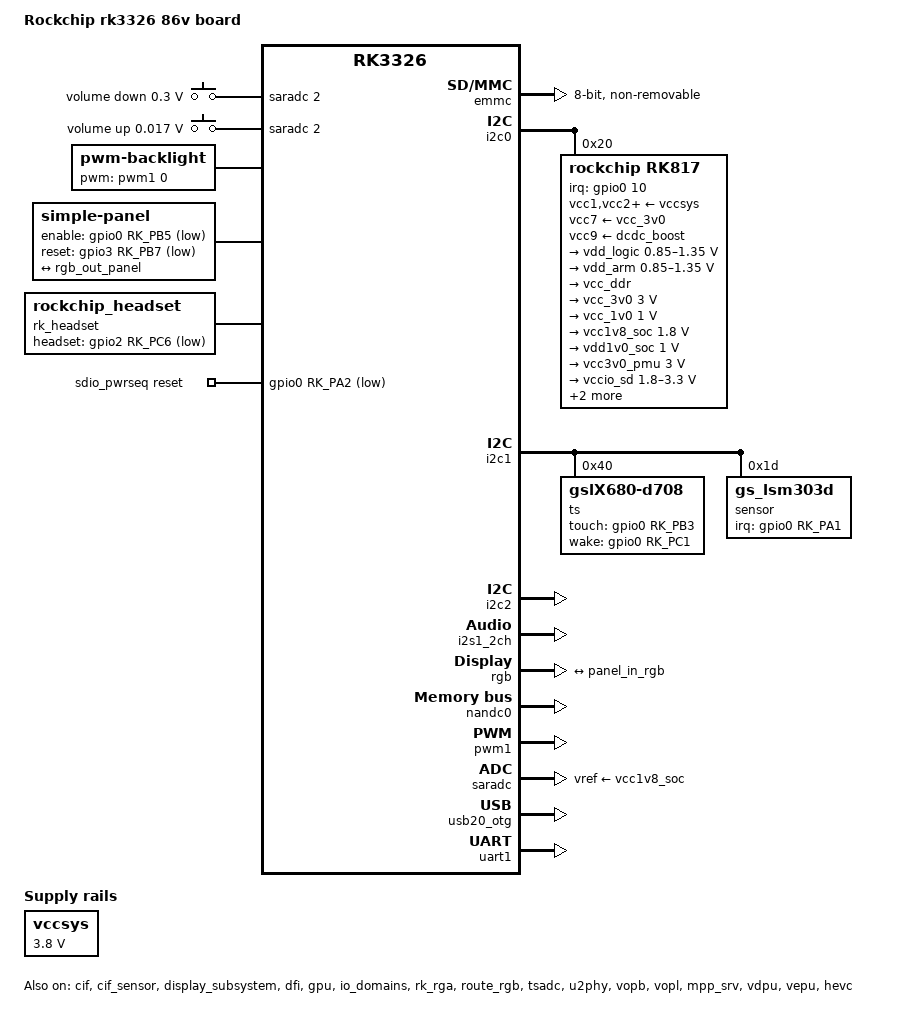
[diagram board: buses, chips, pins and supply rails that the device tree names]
// SPDX-License-Identifier: (GPL-2.0+ OR MIT)
/*
 * Copyright (c) 2018 Fuzhou Rockchip Electronics Co., Ltd
 */

/dts-v1/;
#include <dt-bindings/display/drm_mipi_dsi.h>
#include <dt-bindings/gpio/gpio.h>
#include <dt-bindings/input/input.h>
#include <dt-bindings/pinctrl/rockchip.h>
#include <dt-bindings/sensor-dev.h>
#include "rk3326.dtsi"
#include "rk3326-863-cif-sensor.dtsi"
#include "px30-android.dtsi"

/ {
	model = "Rockchip rk3326 86v board";
	compatible = "rockchip,rk3326-86v-v10", "rockchip,rk3326";

	adc-keys {
		compatible = "adc-keys";
		io-channels = <&saradc 2>;
		io-channel-names = "buttons";
		poll-interval = <100>;
		keyup-threshold-microvolt = <617000>;

		vol-down-key {
			linux,code = <KEY_VOLUMEDOWN>;
			label = "volume down";
			press-threshold-microvolt = <300000>;
		};

		vol-up-key {
			linux,code = <KEY_VOLUMEUP>;
			label = "volume up";
			press-threshold-microvolt = <17000>;
		};
	};

	backlight: backlight {
		compatible = "pwm-backlight";
		pwms = <&pwm1 0 25000 0>;
		brightness-levels = <
			 0   10  10  11  11  12  12  13
			 13  14  14  15  15  16  16  17
			 17  18  18  19  20  21  22  23
			 24  25  26  27  28  29  30  31
			 32  33  34  35  36  37  38  39
			 40  41  42  43  44  45  46  47
			 48  49  50  51  52  53  54  55
			 56  57  58  59  60  61  62  63
			 64  65  66  67  68  69  70  71
			 72  73  74  75  76  77  78  79
			 80  81  82  83  84  85  86  87
			 88  89  90  91  92  93  94  95
			 96  97  98  99 100 101 102 103
			104 105 106 107 108 109 110 111
			112 113 114 115 116 117 118 119
			120 121 122 123 124 125 126 127
			128 129 130 131 132 133 134 135
			136 137 138 139 140 141 142 143
			144 145 146 147 148 149 150 151
			152 153 154 155 156 157 158 159
			160 161 162 163 164 165 166 167
			168 169 170 171 172 173 174 175
			176 177 178 179 180 181 182 183
			184 185 186 187 188 189 190 191
			192 193 194 195 196 197 198 199
			200 201 202 203 204 205 206 207
			208 209 210 211 212 213 214 215
			216 217 218 219 220 221 222 223
			224 225 226 227 228 229 230 231
			232 233 234 235 236 237 238 239
			240 241 242 243 244 245 246 247
			248 249 250 251 252 253 254 255>;
		default-brightness-level = <200>;
	};

	charge-animation {
		compatible = "rockchip,uboot-charge";
		rockchip,uboot-charge-on = <0>;
		rockchip,android-charge-on = <0>;
		rockchip,uboot-low-power-voltage = <3500>;
		rockchip,screen-on-voltage = <3600>;
		status = "okay";
	};

	panel {
		compatible ="simple-panel";
		enable-gpios = <&gpio0 RK_PB5 GPIO_ACTIVE_LOW>;
		reset-gpios = <&gpio3 RK_PB7 GPIO_ACTIVE_LOW>;
		bus-format = <MEDIA_BUS_FMT_RGB666_1X18>;

		display-timings {
			native-mode = <&timing0>;

			timing0: timing0 {
				clock-frequency = <51200000>;
				hactive = <1024>;
				vactive = <600>;
				hback-porch = <100>;
				hfront-porch = <120>;
				vback-porch = <10>;
				vfront-porch = <15>;
				hsync-len = <100>;
				vsync-len = <10>;
				hsync-active = <0>;
				vsync-active = <0>;
				de-active = <0>;
				pixelclk-active = <0>;
			};
		};

		port {
			panel_in_rgb: endpoint {
				remote-endpoint = <&rgb_out_panel>;
			};
		};
	};

	rk817-sound {
		compatible = "simple-audio-card";
		simple-audio-card,format = "i2s";
		simple-audio-card,name = "rockchip,rk817-codec";
		simple-audio-card,mclk-fs = <256>;
		simple-audio-card,widgets =
			"Microphone", "Mic Jack",
			"Headphone", "Headphone Jack";
		simple-audio-card,routing =
			"Mic Jack", "MICBIAS1",
			"IN1P", "Mic Jack",
			"Headphone Jack", "HPOL",
			"Headphone Jack", "HPOR";
		simple-audio-card,cpu {
			sound-dai = <&i2s1_2ch>;
		};
		simple-audio-card,codec {
			sound-dai = <&rk817_codec>;
		};
	};

	rk_headset: rk-headset {
		compatible = "rockchip_headset";
		headset_gpio = <&gpio2 RK_PC6 GPIO_ACTIVE_LOW>;
		pinctrl-names = "default";
		pinctrl-0 = <&hp_det>;
	};

	sdio_pwrseq: sdio-pwrseq {
		compatible = "mmc-pwrseq-simple";
		clocks = <&cru SCLK_WIFI_PMU>;
		clock-names = "clk_wifi_pmu";
		pinctrl-names = "default";
		pinctrl-0 = <&wifi_enable_h>;

		/*
		 * On the module itself this is one of these (depending
		 * on the actual card populated):
		 * - SDIO_RESET_L_WL_REG_ON
		 * - PDN (power down when low)
		 */
		reset-gpios = <&gpio0 RK_PA2 GPIO_ACTIVE_LOW>; /* GPIO3_A4 */
	};

	vccsys: vccsys {
		compatible = "regulator-fixed";
		regulator-name = "vcc3v8_sys";
		regulator-always-on;
		regulator-boot-on;
		regulator-min-microvolt = <3800000>;
		regulator-max-microvolt = <3800000>;
	};
};

&cif {
	status = "okay";
};

&cif_sensor {
	status = "okay";
};

&display_subsystem {
	status = "okay";
};

&bus_apll {
	bus-supply = <&vdd_logic>;
	status = "okay";
};

&cpu0 {
	cpu-supply = <&vdd_arm>;
};

&cpu0_opp_table {
	/*
	 * max IR-drop values on different freq condition for this board!
	 */
	rockchip,board-irdrop = <
		/*MHz	MHz	uV */
		0	815	75000
		816	1119	75000
		1200	1512	75000
	>;
};

&dmc_opp_table {
	/*
	 * max IR-drop values on different freq condition for this board!
	 */
	rockchip,board-irdrop = <
		/*MHz	MHz	uV */
		451	800	75000
	>;
};

&dfi {
	status = "okay";
};

&dmc {
	center-supply = <&vdd_logic>;
	status = "disabled";
};

&emmc {
	bus-width = <8>;
	cap-mmc-highspeed;
	/*mmc-hs200-1_8v;*/
	no-sdio;
	no-sd;
	disable-wp;
	non-removable;
	num-slots = <1>;
	status = "okay";
};

&gpu {
	mali-supply = <&vdd_logic>;
	status = "okay";
};

&i2c0 {
	status = "okay";

	rk817: pmic@20 {
		compatible = "rockchip,rk817";
		reg = <0x20>;
		interrupt-parent = <&gpio0>;
		interrupts = <10 IRQ_TYPE_LEVEL_LOW>;
		pinctrl-names = "default", "pmic-sleep",
				"pmic-power-off", "pmic-reset";
		pinctrl-0 = <&pmic_int>;
		pinctrl-1 = <&soc_slppin_slp>, <&rk817_slppin_slp>;
		pinctrl-2 = <&soc_slppin_gpio>, <&rk817_slppin_pwrdn>;
		pinctrl-3 = <&soc_slppin_rst>, <&rk817_slppin_rst>;
		rockchip,system-power-controller;
		wakeup-source;
		#clock-cells = <1>;
		clock-output-names = "rk808-clkout1", "rk808-clkout2";
		//fb-inner-reg-idxs = <2>;
		/* 1: rst regs (default in codes), 0: rst the pmic */
		pmic-reset-func = <1>;

		vcc1-supply = <&vccsys>;
		vcc2-supply = <&vccsys>;
		vcc3-supply = <&vccsys>;
		vcc4-supply = <&vccsys>;
		vcc5-supply = <&vccsys>;
		vcc6-supply = <&vccsys>;
		vcc7-supply = <&vcc_3v0>;
		vcc8-supply = <&vccsys>;
		vcc9-supply = <&dcdc_boost>;

		pwrkey {
			status = "okay";
		};

		pinctrl_rk8xx: pinctrl_rk8xx {
			gpio-controller;
			#gpio-cells = <2>;

			rk817_ts_gpio1: rk817_ts_gpio1 {
				pins = "gpio_ts";
				function = "pin_fun1";
				/* output-low; */
				/* input-enable; */
			};

			rk817_gt_gpio2: rk817_gt_gpio2 {
				pins = "gpio_gt";
				function = "pin_fun1";
			};

			rk817_pin_ts: rk817_pin_ts {
				pins = "gpio_ts";
				function = "pin_fun0";
			};

			rk817_pin_gt: rk817_pin_gt {
				pins = "gpio_gt";
				function = "pin_fun0";
			};

			rk817_slppin_null: rk817_slppin_null {
				pins = "gpio_slp";
				function = "pin_fun0";
			};

			rk817_slppin_slp: rk817_slppin_slp {
				pins = "gpio_slp";
				function = "pin_fun1";
			};

			rk817_slppin_pwrdn: rk817_slppin_pwrdn {
				pins = "gpio_slp";
				function = "pin_fun2";
			};

			rk817_slppin_rst: rk817_slppin_rst {
				pins = "gpio_slp";
				function = "pin_fun3";
			};
		};

		regulators {
			vdd_logic: DCDC_REG1 {
				regulator-always-on;
				regulator-boot-on;
				regulator-min-microvolt = <850000>;
				regulator-max-microvolt = <1350000>;
				regulator-ramp-delay = <6001>;
				regulator-initial-mode = <0x2>;
				regulator-name = "vdd_logic";
				regulator-state-mem {
					regulator-on-in-suspend;
					regulator-suspend-microvolt = <950000>;
				};
			};

			vdd_arm: DCDC_REG2 {
				regulator-always-on;
				regulator-boot-on;
				regulator-min-microvolt = <850000>;
				regulator-max-microvolt = <1350000>;
				regulator-ramp-delay = <6001>;
				regulator-initial-mode = <0x2>;
				regulator-name = "vdd_arm";
				regulator-state-mem {
					regulator-off-in-suspend;
					regulator-suspend-microvolt = <950000>;
				};
			};

			vcc_ddr: DCDC_REG3 {
				regulator-always-on;
				regulator-boot-on;
				regulator-initial-mode = <0x2>;
				regulator-name = "vcc_ddr";
				regulator-state-mem {
					regulator-on-in-suspend;
				};
			};

			vcc_3v0: DCDC_REG4 {
				regulator-always-on;
				regulator-boot-on;
				regulator-min-microvolt = <3000000>;
				regulator-max-microvolt = <3000000>;
				regulator-initial-mode = <0x2>;
				regulator-name = "vcc_3v0";
				regulator-state-mem {
					regulator-on-in-suspend;
					regulator-suspend-microvolt = <3000000>;
				};
			};

			vcc_1v0: LDO_REG1 {
				regulator-always-on;
				regulator-boot-on;
				regulator-min-microvolt = <1000000>;
				regulator-max-microvolt = <1000000>;
				regulator-name = "vcc_1v0";
				regulator-state-mem {
					regulator-on-in-suspend;
					regulator-suspend-microvolt = <1000000>;
				};
			};

			vcc1v8_soc: LDO_REG2 {
				regulator-always-on;
				regulator-boot-on;
				regulator-min-microvolt = <1800000>;
				regulator-max-microvolt = <1800000>;

				regulator-name = "vcc1v8_soc";
				regulator-state-mem {
					regulator-on-in-suspend;
					regulator-suspend-microvolt = <1800000>;
				};
			};

			vdd1v0_soc: LDO_REG3 {
				regulator-always-on;
				regulator-boot-on;
				regulator-min-microvolt = <1000000>;
				regulator-max-microvolt = <1000000>;

				regulator-name = "vcc1v0_soc";
				regulator-state-mem {
					regulator-on-in-suspend;
					regulator-suspend-microvolt = <1000000>;
				};
			};

			vcc3v0_pmu: LDO_REG4 {
				regulator-always-on;
				regulator-boot-on;
				regulator-min-microvolt = <3000000>;
				regulator-max-microvolt = <3000000>;

				regulator-name = "vcc3v0_pmu";
				regulator-state-mem {
					regulator-on-in-suspend;
					regulator-suspend-microvolt = <3000000>;

				};
			};

			vccio_sd: LDO_REG5 {
				regulator-always-on;
				regulator-boot-on;
				regulator-min-microvolt = <1800000>;
				regulator-max-microvolt = <3300000>;

				regulator-name = "vccio_sd";
				regulator-state-mem {
					regulator-on-in-suspend;
					regulator-suspend-microvolt = <3300000>;
				};
			};

			vcc_sd: LDO_REG6 {
				regulator-min-microvolt = <3300000>;
				regulator-max-microvolt = <3300000>;

				regulator-name = "vcc_sd";
				regulator-state-mem {
					regulator-on-in-suspend;
					regulator-suspend-microvolt = <3300000>;

				};
			};

			vcc2v8_dvp: LDO_REG7 {
				regulator-boot-on;
				regulator-min-microvolt = <2800000>;
				regulator-max-microvolt = <2800000>;

				regulator-name = "vcc2v8_dvp";
				regulator-state-mem {
					regulator-off-in-suspend;
					regulator-suspend-microvolt = <2800000>;
				};
			};

			vcc1v8_dvp: LDO_REG8 {
				regulator-boot-on;
				regulator-min-microvolt = <1800000>;
				regulator-max-microvolt = <1800000>;

				regulator-name = "vcc1v8_dvp";
				regulator-state-mem {
					regulator-off-in-suspend;
					regulator-suspend-microvolt = <1800000>;
				};
			};

			vdd1v5_dvp: LDO_REG9 {
				regulator-boot-on;
				regulator-min-microvolt = <1500000>;
				regulator-max-microvolt = <1500000>;

				regulator-name = "vdd1v5_dvp";
				regulator-state-mem {
					regulator-off-in-suspend;
					regulator-suspend-microvolt = <1500000>;
				};
			};

			dcdc_boost: BOOST {
				regulator-always-on;
				regulator-boot-on;
				regulator-min-microvolt = <4700000>;
				regulator-max-microvolt = <5400000>;
				regulator-name = "boost";
			};

			otg_switch: OTG_SWITCH {
				regulator-name = "otg_switch";
			};
		};

		battery {
			compatible = "rk817,battery";
			ocv_table = <3500 3548 3592 3636 3687 3740 3780
				3806 3827 3846 3864 3889 3929 3964
				3993 4015 4030 4041 4056 4076 4148>;
			design_capacity = <4000>;
			design_qmax = <4200>;
			bat_res = <100>;
			sleep_enter_current = <150>;
			sleep_exit_current = <180>;
			sleep_filter_current = <100>;
			power_off_thresd = <3500>;
			zero_algorithm_vol = <3850>;
			max_soc_offset = <60>;
			monitor_sec = <5>;
			sample_res = <10>;
			virtual_power = <0>;
		};

		charger {
			compatible = "rk817,charger";
			min_input_voltage = <4500>;
			max_input_current = <1500>;
			max_chrg_current = <2000>;
			max_chrg_voltage = <4200>;
			chrg_term_mode = <0>;
			chrg_finish_cur = <300>;
			virtual_power = <0>;
			dc_det_adc = <0>;
			extcon = <&u2phy>;
		};

		rk817_codec: codec {
			#sound-dai-cells = <0>;
			compatible = "rockchip,rk817-codec";
			clocks = <&cru SCLK_I2S1_OUT>;
			clock-names = "mclk";
			pinctrl-names = "default";
			pinctrl-0 = <&i2s1_2ch_mclk>;
			hp-volume = <20>;
			spk-volume = <3>;
			mic-in-differential;
			status = "okay";
		};
	};
};

&i2c1 {
	status = "okay";

	ts@40 {
		compatible = "gslX680-d708";
		reg = <0x40>;
		touch-gpio = <&gpio0 RK_PB3 IRQ_TYPE_LEVEL_LOW>;
		wake-gpio = <&gpio0 RK_PC1 IRQ_TYPE_LEVEL_LOW>;
		screen_max_x = <1024>;
		screen_max_y = <600>;
		revert_x = <1>;
		status = "okay";
	};

	sensor@1d {
		status = "okay";
		compatible = "gs_lsm303d";
		reg = <0x1d>;
		type = <SENSOR_TYPE_ACCEL>;
		irq-gpio = <&gpio0 RK_PA1 IRQ_TYPE_LEVEL_LOW>;
		irq_enable = <0>;
		poll_delay_ms = <30>;
		layout = <5>;
		reprobe_en = <1>;
	};
};

&i2c2 {
	status = "okay";
};

&i2s1_2ch {
	status = "okay";
	#sound-dai-cells = <0>;
};

&io_domains {
	status = "okay";

	vccio1-supply = <&vcc_3v0>;
	vccio2-supply = <&vccio_sd>;
	vccio3-supply = <&vcc2v8_dvp>;
	vccio4-supply = <&vcc_3v0>;
	vccio5-supply = <&vcc_3v0>;
};

&rgb {
	status = "okay";

	ports {
		port@1 {
			reg = <1>;

			rgb_out_panel: endpoint {
				remote-endpoint = <&panel_in_rgb>;
			};
		};
	};
};

&nandc0 {
	status = "okay";
};

&pinctrl {
	headphone {
		hp_det: hp-det {
			rockchip,pins = <2 RK_PC6 RK_FUNC_GPIO &pcfg_pull_up>;
		};
	};

	lcdc {
		lcdc_m1_rgb_pins: lcdc-m1-rgb-pins {
			rockchip,pins =
				<3 RK_PA0 1 &pcfg_pull_none>,		/* LCDC_DCLK */
				<3 RK_PA4 1 &pcfg_pull_none_8ma>,	/* LCDC_D0 */
				<3 RK_PA6 1 &pcfg_pull_none_8ma>,	/* LCDC_D2 */
				<3 RK_PB2 1 &pcfg_pull_none_8ma>,	/* LCDC_D6 */
				<3 RK_PB3 1 &pcfg_pull_none_8ma>,	/* LCDC_D7 */
				<3 RK_PB5 1 &pcfg_pull_none_8ma>,	/* LCDC_D9 */
				<3 RK_PC0 1 &pcfg_pull_none_8ma>,	/* LCDC_D12 */
				<3 RK_PC1 1 &pcfg_pull_none_8ma>,	/* LCDC_D13 */
				<3 RK_PC2 1 &pcfg_pull_none_8ma>,	/* LCDC_D14 */
				<3 RK_PC3 1 &pcfg_pull_none_8ma>,	/* LCDC_D15 */
				<3 RK_PC4 1 &pcfg_pull_none_8ma>,	/* LCDC_D16 */
				<3 RK_PC5 1 &pcfg_pull_none_8ma>;	/* LCDC_D17 */
		};

		lcdc_m1_sleep_pins: lcdc-m1-sleep-pins {
			rockchip,pins =
				<3 RK_PA0 RK_FUNC_GPIO &pcfg_pull_none>,	/* LCDC_DCLK */
				<3 RK_PA4 RK_FUNC_GPIO &pcfg_pull_none>,	/* LCDC_D0 */
				<3 RK_PA6 RK_FUNC_GPIO &pcfg_pull_none>,	/* LCDC_D2 */
				<3 RK_PB2 RK_FUNC_GPIO &pcfg_pull_none>,	/* LCDC_D6 */
				<3 RK_PB3 RK_FUNC_GPIO &pcfg_pull_none>,	/* LCDC_D7 */
				<3 RK_PB5 RK_FUNC_GPIO &pcfg_pull_none>,	/* LCDC_D9 */
				<3 RK_PC0 RK_FUNC_GPIO &pcfg_pull_none>,	/* LCDC_D12 */
				<3 RK_PC1 RK_FUNC_GPIO &pcfg_pull_none>,	/* LCDC_D13 */
				<3 RK_PC2 RK_FUNC_GPIO &pcfg_pull_none>,	/* LCDC_D14 */
				<3 RK_PC3 RK_FUNC_GPIO &pcfg_pull_none>,	/* LCDC_D15 */
				<3 RK_PC4 RK_FUNC_GPIO &pcfg_pull_none>,	/* LCDC_D16 */
				<3 RK_PC5 RK_FUNC_GPIO &pcfg_pull_none>;	/* LCDC_D17 */
		};
	};

	pmic {
		pmic_int: pmic_int {
			rockchip,pins =
				<0 RK_PB2 RK_FUNC_GPIO &pcfg_pull_up>;
		};

		soc_slppin_gpio: soc_slppin_gpio {
			rockchip,pins =
				<0 RK_PA4 RK_FUNC_GPIO &pcfg_output_low>;
		};

		soc_slppin_slp: soc_slppin_slp {
			rockchip,pins =
				<0 RK_PA4 1 &pcfg_pull_none>;
		};

		soc_slppin_rst: soc_slppin_rst {
			rockchip,pins =
				<0 RK_PA4 2 &pcfg_pull_none>;
		};
	};

	sdio-pwrseq {
		wifi_enable_h: wifi-enable-h {
			rockchip,pins = <0 RK_PA2 RK_FUNC_GPIO &pcfg_pull_none>;
		};
	};
};

&pmu_io_domains {
	status = "okay";

	pmuio1-supply = <&vcc3v0_pmu>;
	pmuio2-supply = <&vcc3v0_pmu>;
};

&pwm1 {
	status = "okay";
};

&rk_rga {
	status = "okay";
};

&rockchip_suspend {
	status = "okay";
	rockchip,sleep-debug-en = <1>;
};

&route_rgb {
	connect = <&vopb_out_rgb>;
	status = "okay";
};

&saradc {
	status = "okay";
	vref-supply = <&vcc1v8_soc>;
};

&sdmmc {
	bus-width = <4>;
	cap-mmc-highspeed;
	cap-sd-highspeed;
	no-sdio;
	no-mmc;
	card-detect-delay = <800>;
	ignore-pm-notify;
	sd-uhs-sdr12;
	sd-uhs-sdr25;
	sd-uhs-sdr50;
	sd-uhs-sdr104;
	vqmmc-supply = <&vccio_sd>;
	vmmc-supply = <&vcc_sd>;
	status = "disabled";
};

&sdio {
	bus-width = <4>;
	cap-sd-highspeed;
	no-sd;
	no-mmc;
	ignore-pm-notify;
	keep-power-in-suspend;
	non-removable;
	mmc-pwrseq = <&sdio_pwrseq>;
	sd-uhs-sdr104;
	status = "disabled";
};

&tsadc {
	pinctrl-names = "gpio", "otpout";
	pinctrl-0 = <&tsadc_otp_gpio>;
	pinctrl-1 = <&tsadc_otp_out>;
	status = "okay";
};

&u2phy {
	status = "okay";

	u2phy_host: host-port {
		rockchip,low-power-mode;
		status = "okay";
	};

	u2phy_otg: otg-port {
		rockchip,low-power-mode;
		status = "okay";
	};
};

&usb20_otg {
	status = "okay";
};

&uart1 {
	pinctrl-names = "default";
	pinctrl-0 = <&uart1_xfer &uart1_cts>;
	status = "okay";
};

&vip_mmu {
	status = "okay";
};

&vopb {
	status = "okay";
};

&vopb_mmu {
	status = "okay";
};

&vopl {
	status = "okay";
};

&vopl_mmu {
	status = "okay";
};

&mpp_srv {
	status = "okay";
};

&vdpu {
	status = "okay";
};

&vepu {
	status = "okay";
};

&vpu_mmu {
	status = "okay";
};

&hevc {
	status = "okay";
};

&hevc_mmu {
	status = "okay";
};

&firmware_android {
	compatible = "android,firmware";
	fstab {
		compatible = "android,fstab";
		system {
			compatible = "android,system";
			dev = "/dev/block/by-name/system";
			type = "ext4";
			mnt_flags = "ro,barrier=1,inode_readahead_blks=8";
			fsmgr_flags = "wait";
		};
		vendor {
			compatible = "android,vendor";
			dev = "/dev/block/by-name/vendor";
			type = "ext4";
			mnt_flags = "ro,barrier=1,inode_readahead_blks=8";
			fsmgr_flags = "wait";
		};
	};
};
